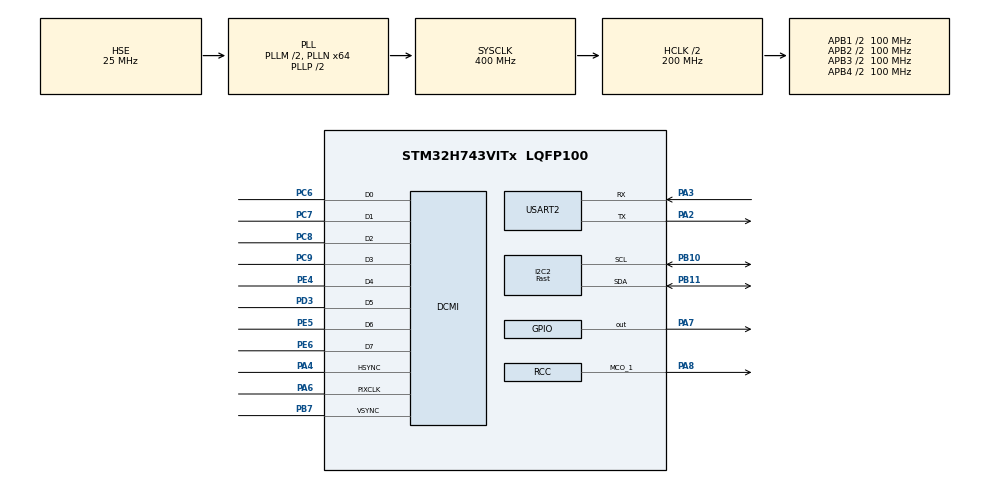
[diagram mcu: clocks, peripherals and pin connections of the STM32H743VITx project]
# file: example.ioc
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DCMI.PCKPolarity=DCMI_PCKPOLARITY_FALLING
DCMI.VSPolarity=DCMI_VSPOLARITY_LOW
Dma.DCMI.0.Direction=DMA_PERIPH_TO_MEMORY
Dma.DCMI.0.EventEnable=DISABLE
Dma.DCMI.0.FIFOMode=DMA_FIFOMODE_DISABLE
Dma.DCMI.0.Instance=DMA2_Stream0
Dma.DCMI.0.MemDataAlignment=DMA_MDATAALIGN_WORD
Dma.DCMI.0.MemInc=DMA_MINC_ENABLE
Dma.DCMI.0.Mode=DMA_NORMAL
Dma.DCMI.0.PeriphDataAlignment=DMA_PDATAALIGN_WORD
Dma.DCMI.0.PeriphInc=DMA_PINC_DISABLE
Dma.DCMI.0.Polarity=HAL_DMAMUX_REQ_GEN_RISING
Dma.DCMI.0.Priority=DMA_PRIORITY_LOW
Dma.DCMI.0.RequestNumber=1
Dma.DCMI.0.SignalID=NONE
Dma.DCMI.0.SyncEnable=DISABLE
Dma.DCMI.0.SyncPolarity=HAL_DMAMUX_SYNC_NO_EVENT
Dma.DCMI.0.SyncRequestNumber=1
Dma.DCMI.0.SyncSignalID=NONE
Dma.Request0=DCMI
I2C2.I2C_Speed_Mode=I2C_Fast
I2C2.Timing=0x009034B6
Mcu.Family=STM32H7
Mcu.Name=STM32H743VITx
Mcu.Package=LQFP100
NVIC.DCMI_IRQn=true\:0\:0\:false\:false\:true\:true\:true\:true
NVIC.DMA2_Stream0_IRQn=true\:0\:0\:false\:false\:true\:false\:true\:true
NVIC.I2C2_EV_IRQn=true\:0\:0\:false\:false\:true\:true\:true\:true
NVIC.PriorityGroup=NVIC_PRIORITYGROUP_4
PA13\ (JTMS/SWDIO).Mode=Serial_Wire
PA13\ (JTMS/SWDIO).Signal=DEBUG_JTMS-SWDIO
PA14\ (JTCK/SWCLK).Mode=Serial_Wire
PA14\ (JTCK/SWCLK).Signal=DEBUG_JTCK-SWCLK
PA2.Mode=Asynchronous
PA2.Signal=USART2_TX
PA3.Mode=Asynchronous
PA3.Signal=USART2_RX
PA4.Mode=Slave_8_bits_External_Synchro
PA4.Signal=DCMI_HSYNC
PA6.Mode=Slave_8_bits_External_Synchro
PA6.Signal=DCMI_PIXCLK
PA7.GPIO_PuPd=GPIO_PULLUP
PA7.GPIO_Speed=GPIO_SPEED_FREQ_HIGH
PA7.PinState=GPIO_PIN_SET
PA7.Signal=GPIO_Output
PA8.Mode=Clock-out-1
PA8.Signal=RCC_MCO_1
PB10.GPIO_Pu=GPIO_PULLUP
PB10.Mode=I2C
PB10.Signal=I2C2_SCL
PB11.GPIO_Pu=GPIO_PULLUP
PB11.Mode=I2C
PB11.Signal=I2C2_SDA
PB7.Mode=Slave_8_bits_External_Synchro
PB7.Signal=DCMI_VSYNC
PC6.Mode=Slave_8_bits_External_Synchro
PC6.Signal=DCMI_D0
PC7.Mode=Slave_8_bits_External_Synchro
PC7.Signal=DCMI_D1
PC8.Mode=Slave_8_bits_External_Synchro
PC8.Signal=DCMI_D2
PC9.Mode=Slave_8_bits_External_Synchro
PC9.Signal=DCMI_D3
PD3.Mode=Slave_8_bits_External_Synchro
PD3.Signal=DCMI_D5
PE4.Mode=Slave_8_bits_External_Synchro
PE4.Signal=DCMI_D4
PE5.Mode=Slave_8_bits_External_Synchro
PE5.Signal=DCMI_D6
PE6.Mode=Slave_8_bits_External_Synchro
PE6.Signal=DCMI_D7
PH0-OSC_IN\ (PH0).Mode=HSE-External-Oscillator
PH0-OSC_IN\ (PH0).Signal=RCC_OSC_IN
PH1-OSC_OUT\ (PH1).Mode=HSE-External-Oscillator
PH1-OSC_OUT\ (PH1).Signal=RCC_OSC_OUT
ProjectManager.HeapSize=0x200
ProjectManager.StackSize=0x400
ProjectManager.TargetToolchain=MDK-ARM V5.32
RCC.ADCFreq_Value=50390625
RCC.APB1Freq_Value=100000000
RCC.APB2Freq_Value=100000000
RCC.APB3Freq_Value=100000000
RCC.APB4Freq_Value=100000000
RCC.CortexFreq_Value=400000000
RCC.D1PPRE=RCC_APB3_DIV2
RCC.D2PPRE1=RCC_APB1_DIV2
RCC.D2PPRE2=RCC_APB2_DIV2
RCC.D3PPRE=RCC_APB4_DIV2
RCC.DIVM1=2
RCC.DIVN1=64
RCC.HCLKFreq_Value=200000000
RCC.HPRE=RCC_HCLK_DIV2
RCC.HSE_VALUE=25000000
RCC.PLL2FRACN=0
RCC.PLL3FRACN=0
RCC.PLLFRACN=0
RCC.PLLSourceVirtual=RCC_PLLSOURCE_HSE
RCC.SYSCLKFreq_VALUE=400000000
RCC.SYSCLKSource=RCC_SYSCLKSOURCE_PLLCLK
RCC.USBFreq_Value=400000000
USART2.VirtualMode-Asynchronous=VM_ASYNC
board=custom

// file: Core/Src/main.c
/* USER CODE BEGIN Header */
/**
  ******************************************************************************
  * @file           : main.c
  * @brief          : Main program body
  ******************************************************************************
  * @attention
  *
  * Copyright (c) 2026 STMicroelectronics.
  * All rights reserved.
  *
  * This software is licensed under terms that can be found in the LICENSE file
  * in the root directory of this software component.
  * If no LICENSE file comes with this software, it is provided AS-IS.
  *
  ******************************************************************************
  */
/* USER CODE END Header */
#include "main.h"
#include "dcmi.h"
#include "dma.h"
#include "i2c.h"
#include "usart.h"
#include "gpio.h"

/* USER CODE BEGIN Includes */
#include <stdio.h>             // ??:?? printf ? FILE ??
#include "ov5640_app.h"        // ??:??????????
/* USER CODE END Includes */

void SystemClock_Config(void);

/* USER CODE BEGIN 0 */
// ??? printf ??? 2
int fputc(int ch, FILE *f)
{
    HAL_UART_Transmit(&huart2, (uint8_t *)&ch, 1, HAL_MAX_DELAY);
    return ch;
}
/* USER CODE END 0 */

int main(void)
{

  /* MCU Configuration--------------------------------------------------------*/

  /* Reset of all peripherals, Initializes the Flash interface and the Systick. */
  HAL_Init();

  /* Configure the system clock */
  SystemClock_Config();

  /* Initialize all configured peripherals */
  MX_GPIO_Init();
  MX_DMA_Init();
  MX_DCMI_Init();
  MX_I2C2_Init();
  MX_USART2_UART_Init();
  /* USER CODE BEGIN 2 */

  uint8_t sensor_id = 0;
// ???? I2C ??? hi2c1,?????? 0x78 (???)
	HAL_I2C_Mem_Read(&hi2c2, 0x78, 0x300A, I2C_MEMADD_SIZE_8BIT, &sensor_id, 1, 100);

	if (sensor_id == 0x56) {
			printf("Camera ID OK: 0x%02X\r\n", sensor_id);
	} else {
			printf("Camera ID Error: 0x%02X (Is I2C working?)\r\n", sensor_id);
	}

  // ????????
  OV5640_Config_Init();

  HAL_Delay(500); // ???????
  /* USER CODE END 2 */

  /* Infinite loop */
  /* USER CODE BEGIN WHILE */
  while (1)
  {
    OV5640_Capture_And_Send();
		HAL_Delay(500);
    /* USER CODE END WHILE */

  }
}

void SystemClock_Config(void)
{
  RCC_OscInitTypeDef RCC_OscInitStruct = {0};
  RCC_ClkInitTypeDef RCC_ClkInitStruct = {0};

  /** Supply configuration update enable
  */
  HAL_PWREx_ConfigSupply(PWR_LDO_SUPPLY);

  /** Configure the main internal regulator output voltage
  */
  __HAL_PWR_VOLTAGESCALING_CONFIG(PWR_REGULATOR_VOLTAGE_SCALE1);

  while(!__HAL_PWR_GET_FLAG(PWR_FLAG_VOSRDY)) {}

  /** Initializes the RCC Oscillators according to the specified parameters
  * in the RCC_OscInitTypeDef structure.
  */
  RCC_OscInitStruct.OscillatorType = RCC_OSCILLATORTYPE_HSI|RCC_OSCILLATORTYPE_HSE;
  RCC_OscInitStruct.HSEState = RCC_HSE_ON;
  RCC_OscInitStruct.HSIState = RCC_HSI_DIV1;
  RCC_OscInitStruct.HSICalibrationValue = RCC_HSICALIBRATION_DEFAULT;
  RCC_OscInitStruct.PLL.PLLState = RCC_PLL_ON;
  RCC_OscInitStruct.PLL.PLLSource = RCC_PLLSOURCE_HSE;
  RCC_OscInitStruct.PLL.PLLM = 2;
  RCC_OscInitStruct.PLL.PLLN = 64;
  RCC_OscInitStruct.PLL.PLLP = 2;
  RCC_OscInitStruct.PLL.PLLQ = 2;
  RCC_OscInitStruct.PLL.PLLR = 2;
  RCC_OscInitStruct.PLL.PLLRGE = RCC_PLL1VCIRANGE_3;
  RCC_OscInitStruct.PLL.PLLVCOSEL = RCC_PLL1VCOWIDE;
  RCC_OscInitStruct.PLL.PLLFRACN = 0;
  if (HAL_RCC_OscConfig(&RCC_OscInitStruct) != HAL_OK)
  {
    Error_Handler();
  }

  /** Initializes the CPU, AHB and APB buses clocks
  */
  RCC_ClkInitStruct.ClockType = RCC_CLOCKTYPE_HCLK|RCC_CLOCKTYPE_SYSCLK
                              |RCC_CLOCKTYPE_PCLK1|RCC_CLOCKTYPE_PCLK2
                              |RCC_CLOCKTYPE_D3PCLK1|RCC_CLOCKTYPE_D1PCLK1;
  RCC_ClkInitStruct.SYSCLKSource = RCC_SYSCLKSOURCE_PLLCLK;
  RCC_ClkInitStruct.SYSCLKDivider = RCC_SYSCLK_DIV1;
  RCC_ClkInitStruct.AHBCLKDivider = RCC_HCLK_DIV2;
  RCC_ClkInitStruct.APB3CLKDivider = RCC_APB3_DIV2;
  RCC_ClkInitStruct.APB1CLKDivider = RCC_APB1_DIV2;
  RCC_ClkInitStruct.APB2CLKDivider = RCC_APB2_DIV2;
  RCC_ClkInitStruct.APB4CLKDivider = RCC_APB4_DIV2;

  if (HAL_RCC_ClockConfig(&RCC_ClkInitStruct, FLASH_LATENCY_2) != HAL_OK)
  {
    Error_Handler();
  }
  HAL_RCC_MCOConfig(RCC_MCO1, RCC_MCO1SOURCE_HSI, RCC_MCODIV_1);
}

void Error_Handler(void)
{
  __disable_irq();
  while (1)
  {
  }
}
